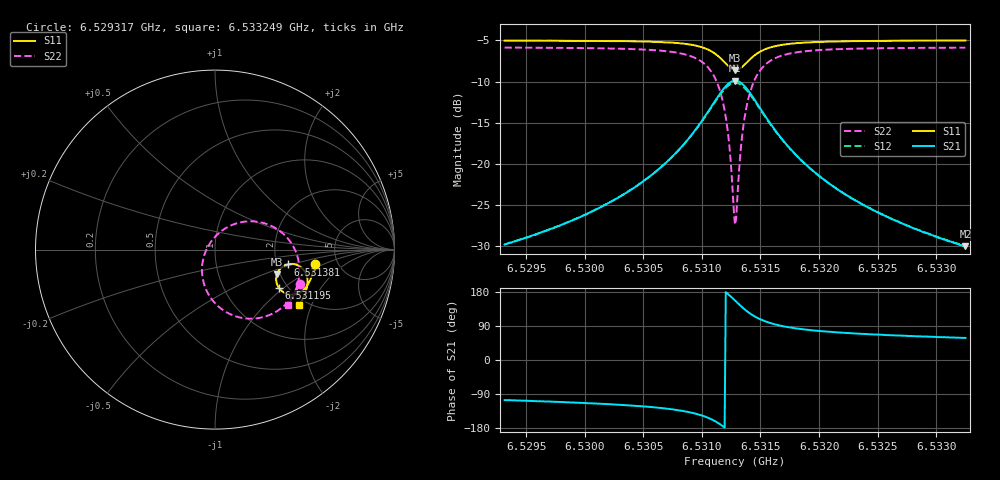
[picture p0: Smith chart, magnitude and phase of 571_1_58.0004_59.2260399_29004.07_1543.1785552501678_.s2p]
#  HZ  S  RI  R  50.00
! Rohde & Schwarz Vector Network Analyzer
! Rohde-Schwarz,ZNB20-2Port,1311601062101988,3.16
! Created: UTC 3/21/2024, 1:15:54 AM
! freq[Hz]  re:S11  im:S11  re:S21  im:S21  re:S12  im:S12  re:S22  im:S22
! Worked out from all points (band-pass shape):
!   401 points, 6.529317 GHz to 6.533249 GHz, reference 50 ohm
!   highest |S21| = -9.88 dB at 6.531283 GHz (marker M1); lowest = -30.0 dB at 6.533249 GHz (marker M2)
!   |S21| within 3 dB of the highest: 6.531088 GHz to 6.531482 GHz (393.6 kHz wide, 0.00603 % of centre)
!   lowest |S11| = -8.6 dB at 6.531283 GHz (marker M3), VSWR 2.18, Z = 96 - j30.9 ohm
!   |S11| at or under -10 dB: nowhere
!   |S22| runs from -27.4 to -5.9 dB; largest |S21 - S12| = 0.013
!   S11 on the Smith chart (normalised r, x): 6.529317 GHz: 3.35, -0.79; 6.531195 GHz: 1.80, -0.92; 6.531381 GHz: 2.29, -0.46; 6.533249 GHz: 1.82, -1.64
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6.5293165e9  0.5546 -0.0812  -0.00884 -0.0312  -0.00941 -0.0311  0.4717 -0.1912
6.5299753e9  0.5427 -0.1364  -0.019 -0.0443  -0.02 -0.0439  0.4384 -0.2521
6.5303391e9  0.5301 -0.1706  -0.0319 -0.0577  -0.0333 -0.0569  0.4045 -0.2947
6.5306341e9  0.5121 -0.2028  -0.055 -0.0755  -0.0571 -0.0738  0.3523 -0.3386
6.5308602e9  0.4835 -0.2319  -0.0968 -0.0943  -0.0996 -0.0911  0.2682 -0.3761
6.5310274e9  0.4377 -0.2498  -0.1678 -0.0993  -0.1699 -0.0924  0.1383 -0.3779
6.5311257e9  0.3911 -0.2424  -0.2395 -0.07  -0.238 -0.0599  0.0188 -0.3166
6.5311945e9  0.3554 -0.2125  -0.2912 -0.00796  -0.2846 0.00233  -0.0575 -0.2034
6.531224e9  0.3449 -0.191  -0.3046 0.0326  -0.2952 0.0413  -0.0718 -0.1341
6.5312633e9  0.3411 -0.1566  -0.3041 0.0949  -0.2928 0.1001  -0.0603 -0.0323
6.531283e9  0.3446 -0.1387  -0.2947 0.126  -0.2827 0.1291  -0.0394 0.0167
6.5312928e9  0.3479 -0.1303  -0.2878 0.1406  -0.2758 0.1427  -0.0253 0.0395
6.5313027e9  0.3518 -0.1221  -0.2792 0.1548  -0.2676 0.1558  -0.0094 0.0607
6.531342e9  0.3752 -0.0961  -0.2348 0.1989  -0.2252 0.1967  0.0705 0.1256
6.5313813e9  0.404 -0.0825  -0.1833 0.222  -0.1762 0.2182  0.1593 0.1548
6.5314502e9  0.4494 -0.0829  -0.1042 0.2222  -0.1009 0.2188  0.2912 0.1415
6.5315485e9  0.4885 -0.1067  -0.0372 0.1882  -0.0356 0.1861  0.3992 0.0692
6.531696e9  0.5106 -0.1443  0.00233 0.1381  0.00359 0.1374  0.457 -0.0308
6.5319418e9  0.5154 -0.1885  0.0185 0.0898  0.0195 0.0895  0.4703 -0.131
6.5322466e9  0.5085 -0.2255  0.0208 0.0604  0.0215 0.0602  0.4588 -0.1991
6.5326006e9  0.4964 -0.2586  0.0195 0.0428  0.0202 0.0426  0.4402 -0.2477
6.5332495e9  0.4708 -0.3077  0.0167 0.0269  0.0172 0.0267  0.4054 -0.3067
